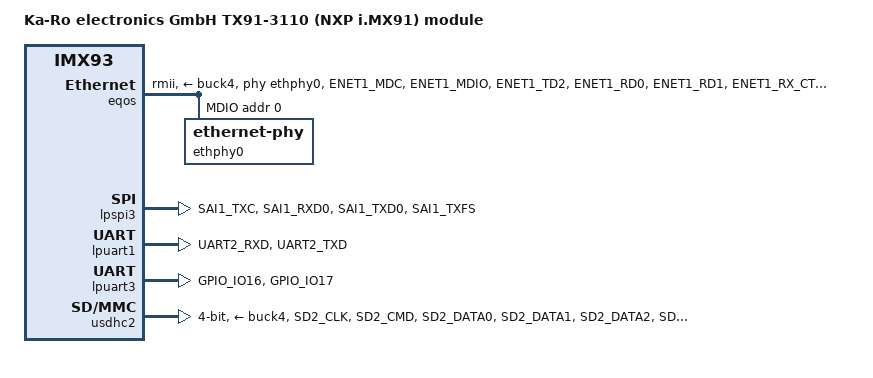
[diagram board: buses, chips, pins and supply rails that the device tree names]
// SPDX-License-Identifier: (GPL-2.0+ OR MIT)
/*
 * Copyright 2023 Lothar Waßmann <LW@KARO-electronics.de>
 */

/dts-v1/;

#include "imx91-karo.dtsi"

/ {
	model = "Ka-Ro electronics GmbH TX91-3110 (NXP i.MX91) module";
	compatible = "karo,tx93-5210", "fsl,imx93";

	aliases {
		mmc1 = &usdhc2;
	};
};

&eqos {
	pinctrl-names = "default";
	pinctrl-0 = <&pinctrl_eqos_rmii &pinctrl_ethphy0_rst>;
	assigned-clock-rates = <0 50000000>;
	phy-mode = "rmii";
	phy-handle = <&ethphy0>;
	phy-supply = <&buck4>;
	phy-reset-gpios = <&gpio4 13 GPIO_ACTIVE_LOW>;
	phy-reset-duration = <25000>; /* µs */
	phy-reset-post-delay = <10>; /* µs */
	status = "okay";

	mdio {
		compatible = "snps,dwmac-mdio";
		#address-cells = <1>;
		#size-cells = <0>;
		clock-frequency = <2500000>;

		ethphy0: ethernet-phy@0 {
			reg = <0>;
			clocks = <&clk IMX93_CLK_ENET>;
			smsc,disable-energy-detect;
		};
	};
};

&fec {
	pinctrl-names = "default";
	pinctrl-0 = <&pinctrl_fec_rgmii>;
	phy-supply = <&buck4>;
	status = "disabled";

	mdio {
		#address-cells = <1>;
		#size-cells = <0>;
		clock-frequency = <2500000>;
	};
};

&lpspi3 {
	pinctrl-names = "default";
	pinctrl-0 = <&pinctrl_lpspi3 &pinctrl_lpspi3_cs>;
	spi-max-frequency = <25000000>;
};

&lpuart1 { /* console */
	pinctrl-0 = <&pinctrl_uart1 &pinctrl_uart1_rtscts>;
	uart-has-rtscts;
};

&lpuart2 {
	pinctrl-names = "default";
	pinctrl-0 = <&pinctrl_uart2>;
	status = "disabled";
};

&lpuart3 {
	pinctrl-0 = <&pinctrl_uart3 &pinctrl_uart3_rtscts>;
	uart-has-rtscts;
};

&usdhc2 {
	pinctrl-names = "default";
	pinctrl-0 = <&pinctrl_usdhc2>;
	vmmc-supply = <&buck4>;
	vqmmc-supply = <&buck4>;
	bus-width = <4>;
	no-1-8-v;
	no-sdio;
	no-mmc;
	status = "okay";
};

&iomuxc {
	pinctrl-names = "default";
	status = "okay";

	pinctrl_eqos_rmii: eqos-rmiigrp {
		fsl,pins = <
			MX93_PAD_ENET1_MDC__ENET_QOS_MDC			0x57e
			MX93_PAD_ENET1_MDIO__ENET_QOS_MDIO			0x17e
			MX93_PAD_ENET1_TD2__CCM_ENET_QOS_CLOCK_GENERATE_REF_CLK	0x4000017e
			/* SMSC LAN8710 Strap pins: MODE0 */
			MX93_PAD_ENET1_RD0__ENET_QOS_RGMII_RD0			0x37e
			/* MODE1 */
			MX93_PAD_ENET1_RD1__ENET_QOS_RGMII_RD1			0x37e
			/* MODE2 (external Pullup) */
			MX93_PAD_ENET1_RX_CTL__ENET_QOS_RGMII_RX_CTL		0x37e
			/* PHYAD0 */
			MX93_PAD_ENET1_RXC__ENET_QOS_RX_ER			0x57e

			MX93_PAD_ENET1_TD0__ENET_QOS_RGMII_TD0			0x57e
			MX93_PAD_ENET1_TD1__ENET_QOS_RGMII_TD1			0x57e
			MX93_PAD_ENET1_TX_CTL__ENET_QOS_RGMII_TX_CTL		0x57e
		>;
	};

	pinctrl_ethphy0_rst: ethphy0-rstgrp {
		fsl,pins = <
			MX93_PAD_ENET1_RD3__GPIO4_IO13				0x4000017e
		>;
	};

	pinctrl_fec_rgmii: fec-rgmiigrp {
		fsl,pins = <
			MX93_PAD_SD3_DATA3__GPIO3_IO25				0x57e
			/* KSZ9031 Strap pins: MODE0 */
			MX93_PAD_ENET2_TX_CTL__ENET1_RGMII_TX_CTL	0x37e
			/* MODE1 */
			MX93_PAD_ENET2_RD1__ENET1_RGMII_RD1			0x37e
			/* MODE2 */
			MX93_PAD_ENET1_TD3__ENET_QOS_RGMII_TD3		0x37e
			/* MODE3 */
			MX93_PAD_ENET2_TD2__ENET1_RGMII_TD2			0x37e
			/* CLK125_EN */
			MX93_PAD_ENET2_RX_CTL__ENET1_RGMII_RX_CTL	0x57e

			MX93_PAD_ENET2_RXC__ENET1_RGMII_RXC			0x5fe
			MX93_PAD_SD1_STROBE__GPIO3_IO18				0x57e
			MX93_PAD_I2C2_SDA__GPIO1_IO03				0x57e
			MX93_PAD_ENET2_RD3__ENET1_RGMII_RD3			0x57e
			MX93_PAD_SD3_DATA2__GPIO3_IO24				0x57e
			MX93_PAD_ENET2_TXC__ENET1_RGMII_TXC			0x5fe
			MX93_PAD_ENET2_TD3__ENET1_RGMII_TD3			0x57e
		>;
	};

	pinctrl_lcdif: lcdifgrp {
		fsl,pins = <
			MX93_PAD_GPIO_IO00__MEDIAMIX_DISP_CLK           0x31e
			MX93_PAD_GPIO_IO01__MEDIAMIX_DISP_DE            0x31e
			MX93_PAD_GPIO_IO02__MEDIAMIX_DISP_VSYNC         0x31e
			MX93_PAD_GPIO_IO03__MEDIAMIX_DISP_HSYNC         0x31e
			MX93_PAD_GPIO_IO04__MEDIAMIX_DISP_DATA00        0x31e
			MX93_PAD_GPIO_IO05__MEDIAMIX_DISP_DATA01        0x31e
			MX93_PAD_GPIO_IO06__MEDIAMIX_DISP_DATA02        0x31e
			MX93_PAD_GPIO_IO07__MEDIAMIX_DISP_DATA03        0x31e
			MX93_PAD_GPIO_IO08__MEDIAMIX_DISP_DATA04        0x31e
			MX93_PAD_GPIO_IO09__MEDIAMIX_DISP_DATA05        0x31e
			MX93_PAD_GPIO_IO10__MEDIAMIX_DISP_DATA06        0x31e
			MX93_PAD_GPIO_IO11__MEDIAMIX_DISP_DATA07        0x31e
			MX93_PAD_GPIO_IO12__MEDIAMIX_DISP_DATA08        0x31e
			MX93_PAD_GPIO_IO13__MEDIAMIX_DISP_DATA09        0x31e
			MX93_PAD_GPIO_IO14__MEDIAMIX_DISP_DATA10        0x31e
			MX93_PAD_GPIO_IO15__MEDIAMIX_DISP_DATA11        0x31e
			MX93_PAD_GPIO_IO16__MEDIAMIX_DISP_DATA12        0x31e
			MX93_PAD_GPIO_IO17__MEDIAMIX_DISP_DATA13        0x31e
			MX93_PAD_GPIO_IO18__MEDIAMIX_DISP_DATA14        0x31e
			MX93_PAD_GPIO_IO19__MEDIAMIX_DISP_DATA15        0x31e
			MX93_PAD_GPIO_IO20__MEDIAMIX_DISP_DATA16        0x31e
			MX93_PAD_GPIO_IO21__MEDIAMIX_DISP_DATA17        0x31e
			MX93_PAD_GPIO_IO22__MEDIAMIX_DISP_DATA18        0x31e
			MX93_PAD_GPIO_IO23__MEDIAMIX_DISP_DATA19        0x31e
			MX93_PAD_GPIO_IO24__MEDIAMIX_DISP_DATA20        0x31e
			MX93_PAD_GPIO_IO25__MEDIAMIX_DISP_DATA21        0x31e
			MX93_PAD_GPIO_IO26__MEDIAMIX_DISP_DATA22        0x31e
			MX93_PAD_GPIO_IO27__MEDIAMIX_DISP_DATA23        0x31e
		>;
	};

	pinctrl_flexcan2: flexcan2grp {
		fsl,pins = <
			MX93_PAD_GPIO_IO25__CAN2_TX				0x139e
			MX93_PAD_GPIO_IO27__CAN2_RX				0x139e
		>;
	};

	pinctrl_lpspi3: lpspi3-grp {
		fsl,pins = <
			MX93_PAD_SAI1_TXC__LPSPI1_SIN				0x131e
			MX93_PAD_SAI1_RXD0__LPSPI1_SOUT				0x011e
			MX93_PAD_SAI1_TXD0__LPSPI1_SCK				0x011e
		>;
	};

	pinctrl_lpspi3_cs: lpspi3-csgrp {
		fsl,pins = <
			MX93_PAD_SAI1_TXFS__GPIO1_IO11				0x4000121e
		>;
	};

	pinctrl_pmic: pmicgrp {
		fsl,pins = <
			MX93_PAD_WDOG_ANY__GPIO1_IO15				0x31e
		>;
	};

	pinctrl_uart1_rtscts: uart1-rtsctsgrp {
		fsl,pins = <
			MX93_PAD_UART2_RXD__LPUART1_CTS_B			0x31e
			MX93_PAD_UART2_TXD__LPUART1_RTS_B			0x31e
		>;
	};

	pinctrl_uart2: uart2grp {
		fsl,pins = <
			MX93_PAD_UART2_TXD__LPUART2_TX				0x31e
			MX93_PAD_UART2_RXD__LPUART2_RX				0x31e
		>;
	};

	pinctrl_uart3_rtscts: uart3-rtsctsgrp {
		fsl,pins = <
			MX93_PAD_GPIO_IO16__LPUART3_CTS_B			0x31e
			MX93_PAD_GPIO_IO17__LPUART3_RTS_B			0x31e
		>;
	};

	pinctrl_usdhc2: usdhc2grp {
		fsl,pins = <
			MX93_PAD_SD2_CLK__USDHC2_CLK				0x17fe
			MX93_PAD_SD2_CMD__USDHC2_CMD				0x13fe
			MX93_PAD_SD2_DATA0__USDHC2_DATA0			0x13fe
			MX93_PAD_SD2_DATA1__USDHC2_DATA1			0x13fe
			MX93_PAD_SD2_DATA2__USDHC2_DATA2			0x13fe
			MX93_PAD_SD2_DATA3__USDHC2_DATA3			0x13fe
		>;
	};

	pinctrl_usdhc2_cd: usdhc2-cdgrp {
		fsl,pins = <
			MX93_PAD_SD2_CD_B__GPIO3_IO00				0x31e
		>;
	};
};
